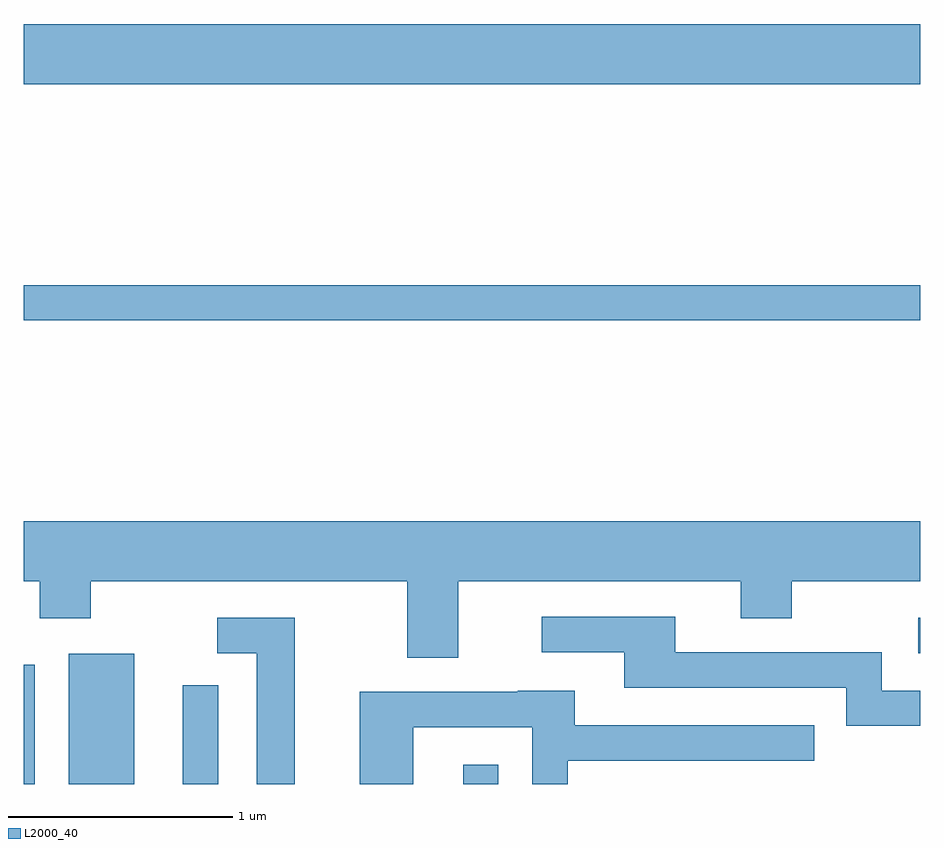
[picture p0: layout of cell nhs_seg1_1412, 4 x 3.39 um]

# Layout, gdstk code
import gdstk
lib = gdstk.Library(unit=1e-6, precision=1e-09)
def R(c, l, rs):  # rectangles x0, y0, x1, y1
    for r in rs: c.add(gdstk.rectangle(r[:2], r[2:], *l))
def P(c, l, *ps):  # polygons
    for p in ps: c.add(gdstk.Polygon(p, *l))
L2000_40 = (2000, 40)

nhs_seg1_1412 = lib.new_cell('nhs_seg1_1412')
R(nhs_seg1_1412, L2000_40, [(227.611,969.712,227.659,970.244), (227.811,969.712,228.104,970.294), (228.321,969.712,228.479,970.153), (229.571,969.712,229.729,969.798), (231.603,970.296,231.611,970.454), (227.611,971.781,231.611,971.939), (227.611,972.836,231.611,973.104)])
P(nhs_seg1_1412, L2000_40, [(229.549,970.616),(230.811,970.616),(230.811,970.451),(231.039,970.451),(231.039,970.616),(231.611,970.616),(231.611,970.884),(227.611,970.884),(227.611,970.616),(227.681,970.616),(227.681,970.451),(227.909,970.451),(227.909,970.616),(229.321,970.616),(229.321,970.276),(229.549,970.276)],
  [(231.611,970.129),(231.439,970.129),(231.439,970.299),(230.519,970.299),(230.519,970.459),(229.923,970.459),(229.923,970.301),(230.291,970.301),(230.291,970.141),(231.281,970.141),(231.281,969.971),(231.611,969.971)],
  [(228.819,970.454),(228.473,970.454),(228.473,970.296),(228.651,970.296),(228.651,969.712),(228.819,969.712)],
  [(229.349,969.966),(229.881,969.966),(229.881,969.712),(230.039,969.712),(230.039,969.816),(231.138,969.816),(231.138,969.974),(230.069,969.974),(230.069,970.129),(229.815,970.129),(229.815,970.124),(229.111,970.124),(229.111,969.712),(229.349,969.712)])

lib.write_gds('nhs_seg1_1412.gds')
